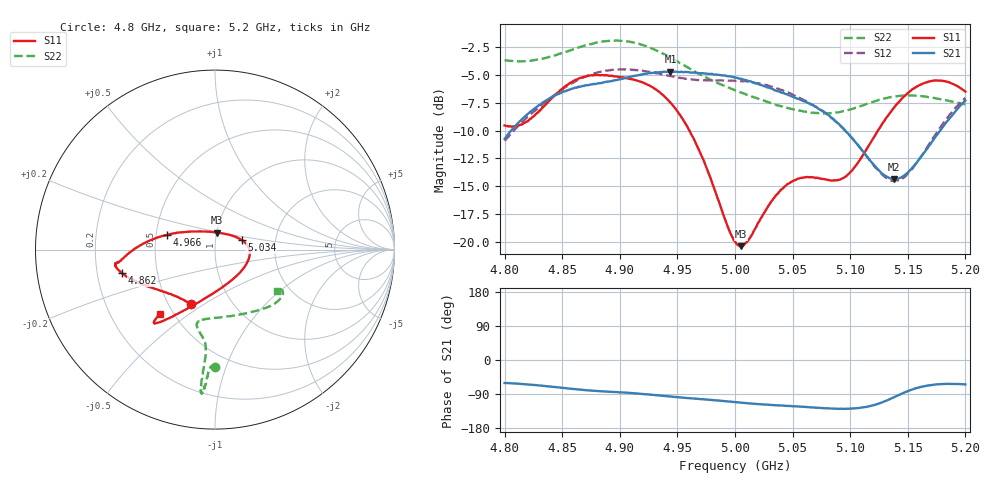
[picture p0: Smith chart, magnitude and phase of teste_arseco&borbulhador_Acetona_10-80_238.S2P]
! Network Analyzer HP8722D
! Hewlett-Packard
! Data name: Linha & Wilkinson
! Saver's name: Rodrigo Anjos
! Comments: Teste da utilização de aquisição
! continua pelo VNA HP8722D
! Time and date: 17/4/2025 16:20
!  Frequency  S11  S21  S12  S22
# HZ  S  MA R 50
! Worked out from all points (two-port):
!   401 points, 4.8 GHz to 5.2 GHz, reference 50 ohm
!   highest |S21| = -4.69 dB at 4.944 GHz (marker M1); lowest = -14.4 dB at 5.138 GHz (marker M2)
!   |S21| within 3 dB of the highest: 4.83 GHz to 5.067 GHz (237.1 MHz wide, 4.79 % of centre); 5.196211 GHz to end of sweep
!   lowest |S11| = -20.4 dB at 5.005 GHz (marker M3), VSWR 1.21, Z = 50.3 + j9.62 ohm
!   |S11| at or under -10 dB: 4.96 GHz to 5.124 GHz (163.6 MHz wide, 3.24 % of centre)
!   |S22| runs from -8.5 to -1.9 dB; largest |S21 - S12| = 0.87
!   S11 on the Smith chart (normalised r, x): 4.8 GHz: 0.64, -0.44; 4.862 GHz: 0.31, -0.11; 4.966 GHz: 0.57, +0.10; 5.034 GHz: 1.34, +0.15; 5.2 GHz: 0.42, -0.39
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4.8e9  0.3336 -113.6  0.2905 -60.8  0.2847 -175.0  0.6567 -90.1
4.819e9  0.3471 -133.5  0.3718 -64.1  0.3603 -173.6  0.6499 -91.6
4.862e9  0.5359 -165.9  0.4949 -77.3  0.5293 -177.0  0.7436 -93.9
4.867e9  0.5484 -167.8  0.5012 -78.7  0.5449 -177.9  0.7559 -94.0
4.9e9  0.5516 -172.3  0.538 -85.3  0.5958 175.6  0.803 -95.4
4.934e9  0.4742 -178.2  0.5784 -93.7  0.572 171.8  0.7167 -95.9
4.944e9  0.4228 177.3  0.5828 -96.2  0.5557 172.0  0.6733 -95.5
4.966e9  0.2776 162.8  0.5749 -102.1  0.5345 173.8  0.5789 -95.1
5e9  0.1005 100.8  0.5472 -111.2  0.5305 176.0  0.4804 -99.1
5.005e9  0.09558 83.0  0.5415 -112.5  0.5281 176.2  0.4686 -100.4
5.013e9  0.1043 57.1  0.5267 -114.6  0.5224 175.8  0.4542 -102.0
5.034e9  0.1575 20.0  0.4811 -119.3  0.496 174.8  0.4162 -103.4
5.05e9  0.1878 3.9  0.4499 -122.2  0.459 173.9  0.3946 -99.3
5.067e9  0.1951 -14.4  0.413 -124.9  0.4144 173.6  0.3805 -90.5
5.085e9  0.1887 -42.6  0.3581 -128.4  0.3568 173.8  0.381 -76.9
5.097e9  0.1983 -67.1  0.3106 -128.7  0.3114 174.6  0.3898 -67.1
5.134e9  0.3771 -116.7  0.1935 -103.8  0.19 -156.7  0.4463 -43.0
5.138e9  0.4012 -119.0  0.1913 -98.2  0.1878 -150.4  0.4496 -41.2
5.15e9  0.4663 -124.4  0.205 -82.2  0.2026 -131.8  0.4552 -36.7
5.17e9  0.5278 -129.0  0.2765 -66.1  0.2824 -112.3  0.4462 -32.0
5.184e9  0.5246 -130.3  0.348 -63.0  0.3592 -107.3  0.4322 -31.1
5.2e9  0.4736 -130.6  0.4317 -64.4  0.4442 -106.5  0.415 -33.3
